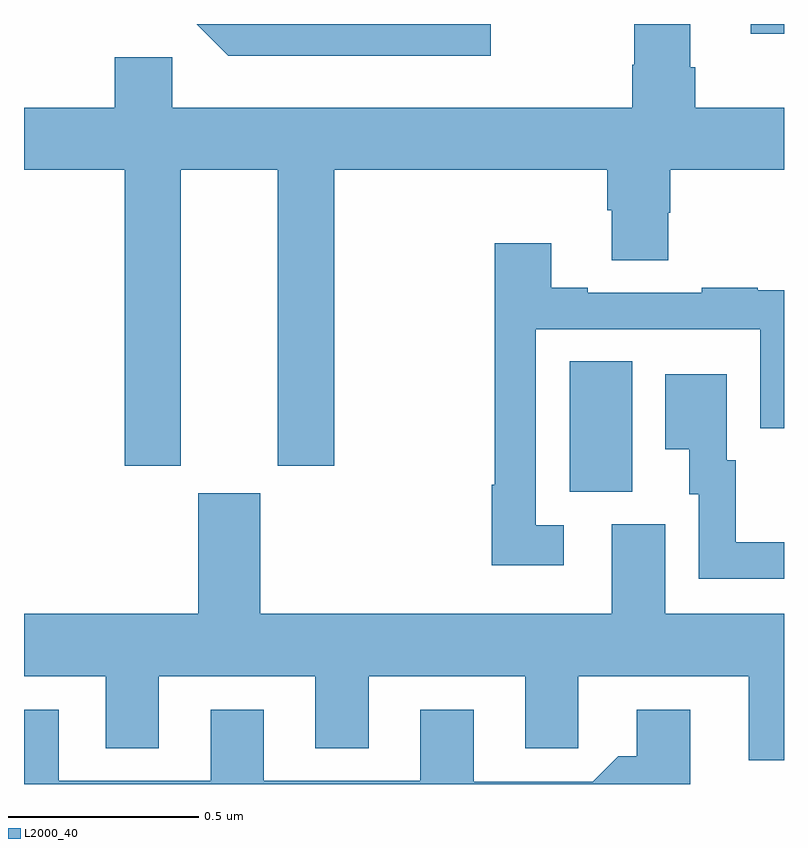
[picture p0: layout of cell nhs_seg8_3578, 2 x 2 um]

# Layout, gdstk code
import gdstk
lib = gdstk.Library(unit=1e-6, precision=1e-09)
def R(c, l, rs):  # rectangles x0, y0, x1, y1
    for r in rs: c.add(gdstk.rectangle(r[:2], r[2:], *l))
def P(c, l, *ps):  # polygons
    for p in ps: c.add(gdstk.Polygon(p, *l))
L2000_40 = (2000, 40)

nhs_seg8_3578 = lib.new_cell('nhs_seg8_3578')
R(nhs_seg8_3578, L2000_40, [(160.436,1099.669,160.6,1100.012), (160.913,1100.874,161,1100.9)])
P(nhs_seg8_3578, L2000_40, [(160.228,1100.9),(159.454,1100.9),(159.538,1100.816),(160.228,1100.816)],
  [(160.753,1100.786),(160.753,1100.9),(160.606,1100.9),(160.606,1100.793),(160.601,1100.793),(160.601,1100.68),(159.39,1100.68),(159.39,1100.812),(159.239,1100.812),(159.239,1100.68),(159,1100.68),(159,1100.516),(159.265,1100.516),(159.265,1099.737),(159.412,1099.737),(159.412,1100.516),(159.668,1100.516),(159.668,1099.737),(159.816,1099.737),(159.816,1100.516),(160.535,1100.516),(160.535,1100.41),(160.547,1100.41),(160.547,1100.278),(160.695,1100.278),(160.695,1100.403),(160.7,1100.403),(160.7,1100.516),(161,1100.516),(161,1100.68),(160.766,1100.68),(160.766,1100.786)],
  [(160.42,1099.581),(160.347,1099.581),(160.347,1100.097),(160.938,1100.097),(160.938,1099.836),(161,1099.836),(161,1100.199),(160.931,1100.199),(160.931,1100.206),(160.783,1100.206),(160.783,1100.193),(160.483,1100.193),(160.483,1100.206),(160.387,1100.206),(160.387,1100.323),(160.239,1100.323),(160.239,1099.688),(160.231,1099.688),(160.231,1099.476),(160.42,1099.476)],
  [(161,1099.536),(160.873,1099.536),(160.873,1099.752),(160.849,1099.752),(160.849,1099.978),(160.688,1099.978),(160.688,1099.781),(160.751,1099.781),(160.751,1099.662),(160.776,1099.662),(160.776,1099.44),(161,1099.44)],
  [(161,1099.348),(160.687,1099.348),(160.687,1099.584),(160.547,1099.584),(160.547,1099.348),(159.622,1099.348),(159.622,1099.665),(159.458,1099.665),(159.458,1099.348),(159,1099.348),(159,1099.184),(159.215,1099.184),(159.215,1098.994),(159.355,1098.994),(159.355,1099.184),(159.767,1099.184),(159.767,1098.994),(159.907,1098.994),(159.907,1099.184),(160.319,1099.184),(160.319,1098.994),(160.458,1098.994),(160.458,1099.184),(160.907,1099.184),(160.907,1098.963),(161,1098.963)],
  [(160.753,1099.096),(160.613,1099.096),(160.613,1098.973),(160.564,1098.973),(160.497,1098.906),(160.183,1098.906),(160.183,1099.096),(160.043,1099.096),(160.043,1098.909),(159.631,1098.909),(159.631,1099.096),(159.491,1099.096),(159.491,1098.909),(159.091,1098.909),(159.091,1099.096),(159,1099.096),(159,1098.9),(160.753,1098.9)])

lib.write_gds('nhs_seg8_3578.gds')
